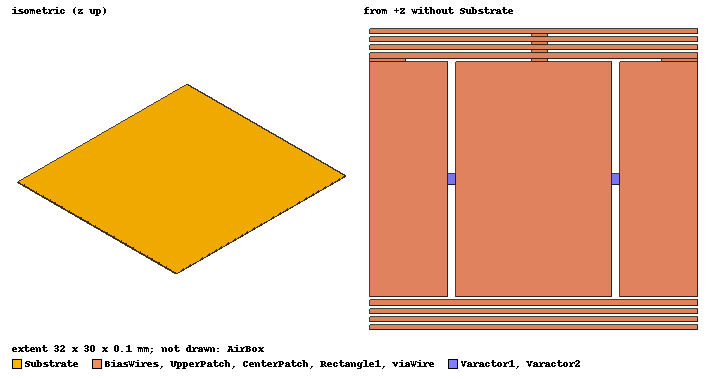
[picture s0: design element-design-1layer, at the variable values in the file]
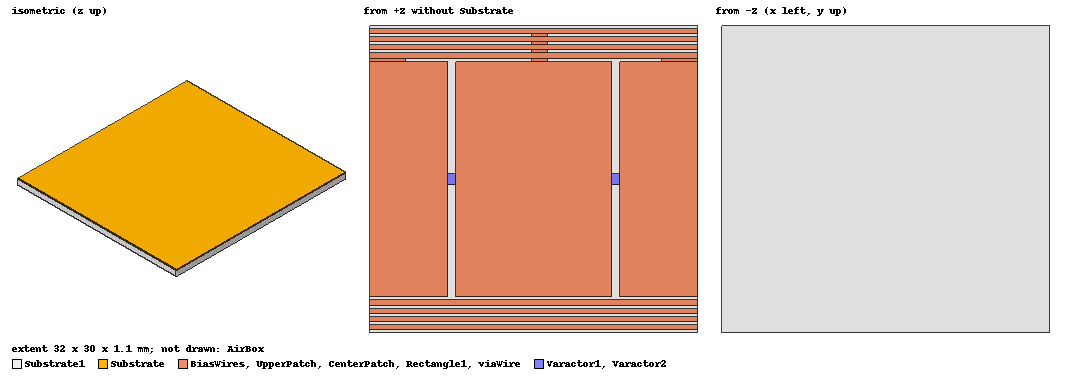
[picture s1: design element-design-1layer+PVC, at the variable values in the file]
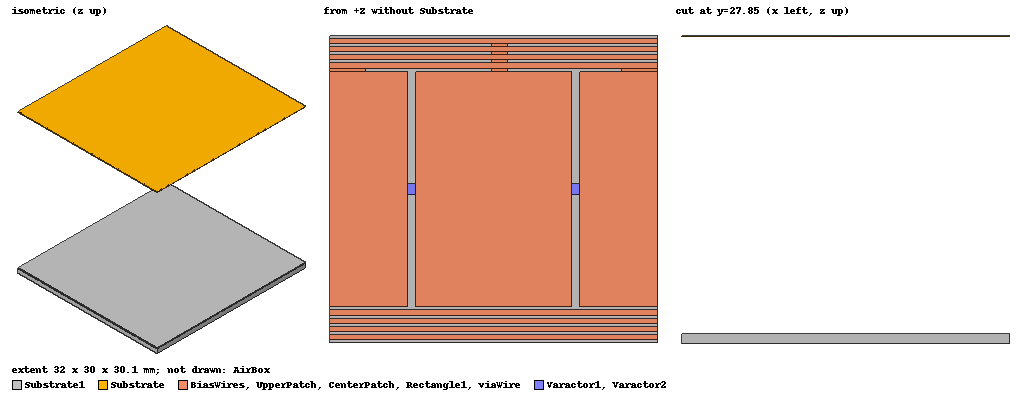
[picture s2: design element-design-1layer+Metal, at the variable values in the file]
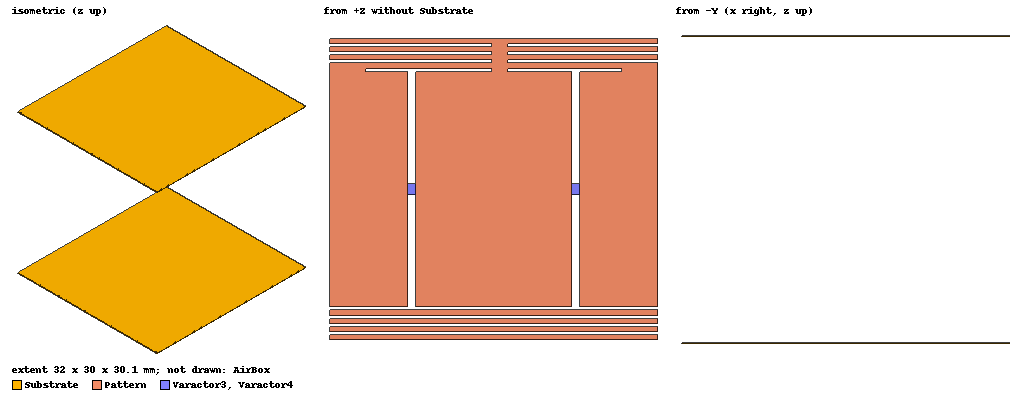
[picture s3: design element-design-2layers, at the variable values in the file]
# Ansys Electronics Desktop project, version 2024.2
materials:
  air: permittivity=1.0006 permeability=1.0000004
  copper: permeability=0.999991 conductivity=58000000
  fabric_my: permittivity=1.5 dielectric_loss_tangent=0.003 delta_H_freq=2450000000
  fat: permittivity=5.462 conductivity=0.051
  muscle: permittivity=55.03 conductivity=0.943
  polyimide: permittivity=3.5 dielectric_loss_tangent=0.008
  skin: permittivity=43.75 conductivity=0.856
  vacuum: permittivity=1
  PVC plastic: permittivity=2.7 dielectric_loss_tangent=0.007
  aluminum: permeability=1.000021 conductivity=38000000

design element-design-1layer (HFSS, HFSS Modal Network, model units mm)
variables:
  air_thickness = 122mm  # Thickness of the airbox for simulation, one wavelength
  sub_XSize = 2*(PatchSizeX+PatchGapX)  # Length of the substrate along X axis, for one surface element
  sub_YSize = 30mm  # Width of the substrate along Yaxis, for one surface element
  sub_PosX = 0  # Start position of substrate along X axis, provides offset, should be fixed to 0
  sub_PosY = 0  # Start position of substrate along Y axis, provides offset, should be fixed to 0
  copper_thickness = 0.02mm  # Thickness of the copper layer in the PCB, fixed by fabrication process
  sub_PosZ = copper_thickness  # Start position of substrate along Z axis, provides offset, should be fixed
  sub_thickness = 0.025mm  # One forth of the thickness of the PCB substrate
  PatchSizeX = 15.3mm  # Length of the center patch of the surface pattern, each element has two patches connected by varactor
  PatchSizeY = 23mm  # Width of the center patch of the surface element
  PatchGapX = 0.7mm  # The gap between two patches, used to host varactor, fixed as we do not plan to change varactor
  wireYSize = 0.5mm  # Biasing wire width along Y axis, biasing wire is to supply voltage for varactor
  wireGapY = 0.3mm  # Biasing wire gap between wires along Y axis
  GNDconnetXSize = 3.5mm  # Width of the connection between GND and patch
  viaRadius = 0.2mm  # Radius of the via, via is used to router the wire and supply voltage to varactor
  viaPosX = sub_XSize/2  # Position of the visa along X axis, fixed by equation
  viaPosY = sub_PosY + sub_YSize/2 + PatchSizeY/2 +(wireYSize+wireGapY)*4 -wireYSize/2  # Position of the visa along Y axis, fixed by equation
  viaPosZ = sub_PosZ  # Position of the visa along Z axis, fixed by equation
  viaGapY = -4*(wireGapY+wireYSize)  # The gap between two sets of vias to route under the biasing wires
  varactorSizeY = 1mm  # size of the varactor, fixed
  capacitance = 2pF  # capacitance of the varactor, with a tunable range between 0.65 to 2pF
  resistance = 0.8ohm  # resistance of the varactor
  viaWireWidth = 1.6mm  # width of the wire connecting two sets of vias, fixed
  viaGapX = viaWireWidth-2*viaRadius  # Gap between vias along X axis.
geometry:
  AirBox [air] = box(corner=(0mm, 0mm, -air_thickness/2), size=(sub_XSize, sub_YSize, air_thickness))
  Substrate [polyimide] = box(corner=(sub_PosX, sub_PosY, sub_PosZ-sub_thickness*1.5), size=(sub_XSize, sub_YSize, sub_thickness*4))
  CenterPatch [copper] = rectangle(corner=(sub_PosX + sub_XSize/2 - PatchSizeX/2, sub_PosY+sub_YSize/2-PatchSizeY/2, sub_PosZ+sub_thickness), x_size=PatchSizeX, y_size=PatchSizeY)
  CenterPatch.thicken(copper_thickness)
  UpperPatch [copper] = rectangle(corner=(sub_PosX, sub_PosY +sub_YSize/2 - PatchSizeY/2, sub_PosZ +sub_thickness), x_size=PatchSizeX/2, y_size=PatchSizeY)
  UpperPatch.thicken(copper_thickness)
  UpperPatch.duplicate_along_line(step=(PatchSizeX *1.5 + PatchGapX*2, 0mm, 0mm), total=2, attached)
  BiasWires [copper] = rectangle(corner=(sub_PosX, sub_PosY +sub_YSize/2 - PatchSizeY/2 - (wireYSize+wireGapY)*4, sub_PosZ+sub_thickness), x_size=sub_XSize, y_size=wireYSize)
  BiasWires.thicken(copper_thickness)
  BiasWires.duplicate_along_line(step=(0mm, wireYSize +wireGapY, 0mm), total=4, attached)
  BiasWires.duplicate_along_line(step=(0mm, PatchSizeY +(wireYSize+wireGapY)*4 + wireGapY, 0mm), total=2, attached)
  Rectangle1 [copper] = rectangle(corner=(sub_PosX, sub_PosY + sub_YSize/2 +PatchSizeY/2, sub_PosZ+sub_thickness), x_size=GNDconnetXSize, y_size=wireGapY)
  Rectangle1.thicken(copper_thickness)
  Rectangle1.duplicate_along_line(step=(sub_XSize-GNDconnetXSize, 0mm, 0mm), total=2, attached)
  Vias [copper] = cylinder(axis=Z, base_centre=(viaPosX, viaPosY, viaPosZ), radius=viaRadius, height=sub_thickness)
  Vias.duplicate_along_line(step=(0mm, viaGapY, 0mm), total=2, attached)
  viaWire [copper] = rectangle(corner=(viaPosX - viaRadius, viaPosY, sub_PosZ-copper_thickness), x_size=viaWireWidth, y_size=viaGapY)
  viaWire.thicken(-copper_thickness)
  Varactor1 = rectangle(corner=(sub_PosX +PatchSizeX/2, sub_PosY+ sub_YSize/2 -varactorSizeY/2, sub_PosZ+sub_thickness+ copper_thickness), x_size=PatchGapX, y_size=varactorSizeY)
  Varactor2 = rectangle(corner=(sub_PosX +PatchSizeX * 1.5 +PatchGapX, sub_PosY+ sub_YSize/2 -varactorSizeY/2, sub_PosZ+sub_thickness+ copper_thickness), x_size=PatchGapX, y_size=varactorSizeY)
  Vias1 [copper] = cylinder(axis=Z, base_centre=(viaPosX + viaGapX/2, viaPosY, viaPosZ), radius=viaRadius, height=sub_thickness)
  Vias1.duplicate_along_line(step=(0mm, viaGapY, 0mm), total=2, attached)
  Vias2 [copper] = cylinder(axis=Z, base_centre=(viaPosX + viaGapX, viaPosY, viaPosZ), radius=viaRadius, height=sub_thickness)
  Vias2.duplicate_along_line(step=(0mm, viaGapY, 0mm), total=2, attached)
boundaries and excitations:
  LumpVaractor: Lumped RLC Objects=Varactor1 CurrentLine{(8.35, 15, 0.065) -> (7.65, 15, 0.065)} RLC_Type=Serial Resistance=resistance Capacitance=capacitance
  LatticePair1: Lattice Pair Faces=AirBox.face(+y, -y) CoordSysVector{(32, 30, 61) -> (32, 30, -61)} PhaseDelay=UseScanAngle Phi=0deg Theta=0deg
  LatticePair2: Lattice Pair Faces=AirBox.face(+x, -x) CoordSysVector{(32, 0, 61) -> (32, 0, -61)} PhaseDelay=UseScanAngle Phi=0deg Theta=0deg
  LumpVaractor2: Lumped RLC Objects=Varactor2 CurrentLine{(24.35, 15, 0.065) -> (23.65, 15, 0.065)} RLC_Type=Serial Resistance=resistance Capacitance=capacitance
  FloquetPort1: Floquet Port Faces=AirBox.face(+z) NumModes=2 DeembedDist="air_thickness/2 - sub_thickness*4" Modes{Mode1{CharImp=Zpi} Mode2{CharImp=Zpi}} PhaseDelay=UseScanAngle Phi=0deg Theta=0deg LatticeAVector{(0, 0, 61) -> (0, 30, 61)} LatticeBVector{(0, 0, 61) -> (32, 0, 61)} ModesList{Mode{ModeNumber=1 IndexM=0 IndexN=0 KC2=0 PropagationState=Propagating Attenuation=0 PolarizationState=TM AffectsRefinement} Mode{ModeNumber=2 IndexM=0 IndexN=0 KC2=0 PropagationState=Propagating Attenuation=0 PolarizationState=TE AffectsRefinement}}
  FloquetPort2: Floquet Port Faces=AirBox.face(-z) NumModes=2 DeembedDist=air_thickness/2 Modes{Mode1{CharImp=Zpi} Mode2{CharImp=Zpi}} PhaseDelay=UseScanAngle Phi=0deg Theta=0deg LatticeAVector{(0, 0, -61) -> (0, 30, -61)} LatticeBVector{(0, 0, -61) -> (32, 0, -61)} ModesList{Mode{ModeNumber=1 IndexM=0 IndexN=0 KC2=0 PropagationState=Propagating Attenuation=0 PolarizationState=TM AffectsRefinement} Mode{ModeNumber=2 IndexM=0 IndexN=0 KC2=0 PropagationState=Propagating Attenuation=0 PolarizationState=TE AffectsRefinement}}
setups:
  Setup1: HfssDriven MultipleAdaptiveFreqsSetup{Low=1.5GHz High=3.5GHz} MaxDeltaS=0.02 MaximumPasses=15 MinimumPasses=1 MinimumConvergedPasses=1 PercentRefinement=30 BasisOrder=1 PortAccuracy=2 DrivenSolverType="Direct Solver"
    sweep Sweep: 1.5GHz to 3.5GHz, 201 points; Type=Interpolating InterpTolerance=0.5 InterpMaxSolns=250 InterpUsePortImped=false PassivityErrorTolerance=0.0001
    sweep Sweep1: 2GHz to 3GHz, 21 points; disabled Type=Discrete
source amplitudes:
  FloquetPort1:1: 1W 0deg
  FloquetPort1:2, FloquetPort2:1, FloquetPort2:2: 0W 0deg
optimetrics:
  Cap: Parametric Sim._Setups=[Setup1]
    sweep capacitance: 0.65pF 0.8pF 1pF 1.25pF 1.5pF
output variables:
  Y_from_Z = 1/Z(FloquetPort2:1,FloquetPort1:1)
  A_fromS = ( (1+S(FloquetPort1:1,FloquetPort1:1)) * (1-S(FloquetPort2:1,FloquetPort2:1)) + S(FloquetPort1:1,FloquetPort2:1) * S(FloquetPort2:1,FloquetPort1:1) ) / (2 * S(FloquetPort2:1,FloquetPort1:1))
  C_fromS = ( (1-S(FloquetPort1:1,FloquetPort1:1)) * (1-S(FloquetPort2:1,FloquetPort2:1)) - S(FloquetPort1:1,FloquetPort2:1) * S(FloquetPort2:1,FloquetPort1:1) ) / (2 * S(FloquetPort2:1,FloquetPort1:1) * 377)
  corrected_Y = (Y_from_Z - 1j/377*sin(air_beta *air_thickness) ) / (cos(air_beta*air_thickness/2)^2)
  air_beta = 2*pi*Freq/3e8
  air_Z = 377ohm
  sub_Z = 377ohm / sqrt(3.55)
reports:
  |S21| for Perpendicular Polarization: dB(S(FloquetPort2:2,FloquetPort1:2)) vs Freq on Setup1 : Sweep; markers MX1 at x=2.5036765e+09
  |S21| for Parallel Polarization: dB(S(FloquetPort2:1,FloquetPort1:1)) vs Freq on Setup1 : Sweep [capacitance=all]; markers MX1 at x=2.4996581e+09
  |S11| for parallel polarization: dB(S(FloquetPort1:1,FloquetPort1:1)) vs Freq on Setup1 : Sweep; markers MX1 at x=2.5044843e+09
  |S11| for perpendicular: dB(S(FloquetPort1:2,FloquetPort1:2)) vs Freq on Setup1 : Sweep
  Phase of S21 for Parallel Polarization: cang_deg(S(FloquetPort2:1,FloquetPort1:1)) vs Freq on Setup1 : Sweep [capacitance=all]; markers MX1 at x=9.9983633e+09
  Phase of S21 for Perpendicular Polarization: cang_deg(S(FloquetPort2:2,FloquetPort1:2)) vs Freq on Setup1 : Sweep
  Phase of |S11|: cang_deg(S(FloquetPort1:1,FloquetPort1:1)) vs Freq on Setup1 : Sweep [capacitance=all]; markers MX1 at x=2.4413448e+09

design element-design-1layer+PVC (HFSS, HFSS Modal Network, model units mm)
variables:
  air_thickness = 122mm  # Thickness of the airbox for simulation, one wavelength
  sub_XSize = 2*(PatchSizeX+PatchGapX)  # Length of the substrate along X axis, for one surface element
  sub_YSize = 30mm  # Width of the substrate along Yaxis, for one surface element
  sub_PosX = 0  # Start position of substrate along X axis, provides offset, should be fixed to 0
  sub_PosY = 0  # Start position of substrate along Y axis, provides offset, should be fixed to 0
  copper_thickness = 0.02mm  # Thickness of the copper layer in the PCB, fixed by fabrication process
  sub_PosZ = copper_thickness  # Start position of substrate along Z axis, provides offset, should be fixed
  sub_thickness = 0.025mm  # One forth of the thickness of the PCB substrate
  PatchSizeX = 15.3mm  # Length of the center patch of the surface pattern, each element has two patches connected by varactor
  PatchSizeY = 23mm  # Width of the center patch of the surface element
  PatchGapX = 0.7mm  # The gap between two patches, used to host varactor, fixed as we do not plan to change varactor
  wireYSize = 0.5mm  # Biasing wire width along Y axis, biasing wire is to supply voltage for varactor
  wireGapY = 0.3mm  # Biasing wire gap between wires along Y axis
  GNDconnetXSize = 3.5mm  # Width of the connection between GND and patch
  viaRadius = 0.2mm  # Radius of the via, via is used to router the wire and supply voltage to varactor
  viaPosX = sub_XSize/2  # Position of the visa along X axis, fixed by equation
  viaPosY = sub_PosY + sub_YSize/2 + PatchSizeY/2 +(wireYSize+wireGapY)*4 -wireYSize/2  # Position of the visa along Y axis, fixed by equation
  viaPosZ = sub_PosZ  # Position of the visa along Z axis, fixed by equation
  viaGapY = -4*(wireGapY+wireYSize)  # The gap between two sets of vias to route under the biasing wires
  varactorSizeY = 1mm  # size of the varactor, fixed
  capacitance = 2pF  # capacitance of the varactor, with a tunable range between 0.65 to 2pF
  resistance = 0.8ohm  # resistance of the varactor
  viaWireWidth = 1.6mm  # width of the wire connecting two sets of vias, fixed
  viaGapX = viaWireWidth-2*viaRadius  # Gap between vias along X axis.
  pvc_thickness = 1mm
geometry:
  AirBox [air] = box(corner=(0mm, 0mm, -air_thickness/2), size=(sub_XSize, sub_YSize, air_thickness))
  Substrate [polyimide] = box(corner=(sub_PosX, sub_PosY, sub_PosZ-sub_thickness*1.5), size=(sub_XSize, sub_YSize, sub_thickness*4))
  CenterPatch [copper] = rectangle(corner=(sub_PosX + sub_XSize/2 - PatchSizeX/2, sub_PosY+sub_YSize/2-PatchSizeY/2, sub_PosZ+sub_thickness), x_size=PatchSizeX, y_size=PatchSizeY)
  CenterPatch.thicken(copper_thickness)
  UpperPatch [copper] = rectangle(corner=(sub_PosX, sub_PosY +sub_YSize/2 - PatchSizeY/2, sub_PosZ +sub_thickness), x_size=PatchSizeX/2, y_size=PatchSizeY)
  UpperPatch.thicken(copper_thickness)
  UpperPatch.duplicate_along_line(step=(PatchSizeX *1.5 + PatchGapX*2, 0mm, 0mm), total=2, attached)
  BiasWires [copper] = rectangle(corner=(sub_PosX, sub_PosY +sub_YSize/2 - PatchSizeY/2 - (wireYSize+wireGapY)*4, sub_PosZ+sub_thickness), x_size=sub_XSize, y_size=wireYSize)
  BiasWires.thicken(copper_thickness)
  BiasWires.duplicate_along_line(step=(0mm, wireYSize +wireGapY, 0mm), total=4, attached)
  BiasWires.duplicate_along_line(step=(0mm, PatchSizeY +(wireYSize+wireGapY)*4 + wireGapY, 0mm), total=2, attached)
  Rectangle1 [copper] = rectangle(corner=(sub_PosX, sub_PosY + sub_YSize/2 +PatchSizeY/2, sub_PosZ+sub_thickness), x_size=GNDconnetXSize, y_size=wireGapY)
  Rectangle1.thicken(copper_thickness)
  Rectangle1.duplicate_along_line(step=(sub_XSize-GNDconnetXSize, 0mm, 0mm), total=2, attached)
  Vias [copper] = cylinder(axis=Z, base_centre=(viaPosX, viaPosY, viaPosZ), radius=viaRadius, height=sub_thickness)
  Vias.duplicate_along_line(step=(0mm, viaGapY, 0mm), total=2, attached)
  viaWire [copper] = rectangle(corner=(viaPosX - viaRadius, viaPosY, sub_PosZ-copper_thickness), x_size=viaWireWidth, y_size=viaGapY)
  viaWire.thicken(-copper_thickness)
  Varactor1 = rectangle(corner=(sub_PosX +PatchSizeX/2, sub_PosY+ sub_YSize/2 -varactorSizeY/2, sub_PosZ+sub_thickness+ copper_thickness), x_size=PatchGapX, y_size=varactorSizeY)
  Varactor2 = rectangle(corner=(sub_PosX +PatchSizeX * 1.5 +PatchGapX, sub_PosY+ sub_YSize/2 -varactorSizeY/2, sub_PosZ+sub_thickness+ copper_thickness), x_size=PatchGapX, y_size=varactorSizeY)
  Vias1 [copper] = cylinder(axis=Z, base_centre=(viaPosX + viaGapX/2, viaPosY, viaPosZ), radius=viaRadius, height=sub_thickness)
  Vias1.duplicate_along_line(step=(0mm, viaGapY, 0mm), total=2, attached)
  Vias2 [copper] = cylinder(axis=Z, base_centre=(viaPosX + viaGapX, viaPosY, viaPosZ), radius=viaRadius, height=sub_thickness)
  Vias2.duplicate_along_line(step=(0mm, viaGapY, 0mm), total=2, attached)
  Substrate1 [PVC plastic] = box(corner=(sub_PosX, sub_PosY, sub_PosZ-1.5*sub_thickness-pvc_thickness), size=(sub_XSize, sub_YSize, pvc_thickness))
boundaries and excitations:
  LumpVaractor: Lumped RLC Objects=Varactor1 CurrentLine{(8.35, 15, 0.065) -> (7.65, 15, 0.065)} RLC_Type=Serial Resistance=resistance Capacitance=capacitance
  LatticePair1: Lattice Pair Faces=AirBox.face(+y, -y) CoordSysVector{(32, 30, 61) -> (32, 30, -61)} PhaseDelay=UseScanAngle Phi=0deg Theta=0deg
  LatticePair2: Lattice Pair Faces=AirBox.face(+x, -x) CoordSysVector{(32, 0, 61) -> (32, 0, -61)} PhaseDelay=UseScanAngle Phi=0deg Theta=0deg
  LumpVaractor2: Lumped RLC Objects=Varactor2 CurrentLine{(24.35, 15, 0.065) -> (23.65, 15, 0.065)} RLC_Type=Serial Resistance=resistance Capacitance=capacitance
  FloquetPort1: Floquet Port Faces=AirBox.face(+z) NumModes=2 DeembedDist="air_thickness/2 - sub_thickness*4" Modes{Mode1{CharImp=Zpi} Mode2{CharImp=Zpi}} PhaseDelay=UseScanAngle Phi=0deg Theta=0deg LatticeAVector{(0, 0, 61) -> (0, 30, 61)} LatticeBVector{(0, 0, 61) -> (32, 0, 61)} ModesList{Mode{ModeNumber=1 IndexM=0 IndexN=0 KC2=0 PropagationState=Propagating Attenuation=0 PolarizationState=TM AffectsRefinement} Mode{ModeNumber=2 IndexM=0 IndexN=0 KC2=0 PropagationState=Propagating Attenuation=0 PolarizationState=TE AffectsRefinement}}
  FloquetPort2: Floquet Port Faces=AirBox.face(-z) NumModes=2 DeembedDist=air_thickness/2 Modes{Mode1{CharImp=Zpi} Mode2{CharImp=Zpi}} PhaseDelay=UseScanAngle Phi=0deg Theta=0deg LatticeAVector{(0, 0, -61) -> (0, 30, -61)} LatticeBVector{(0, 0, -61) -> (32, 0, -61)} ModesList{Mode{ModeNumber=1 IndexM=0 IndexN=0 KC2=0 PropagationState=Propagating Attenuation=0 PolarizationState=TM AffectsRefinement} Mode{ModeNumber=2 IndexM=0 IndexN=0 KC2=0 PropagationState=Propagating Attenuation=0 PolarizationState=TE AffectsRefinement}}
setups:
  Setup1: HfssDriven MultipleAdaptiveFreqsSetup{Low=1.5GHz High=3.5GHz} MaxDeltaS=0.02 MaximumPasses=15 MinimumPasses=1 MinimumConvergedPasses=1 PercentRefinement=30 BasisOrder=1 PortAccuracy=2 DrivenSolverType="Direct Solver"
    sweep Sweep: 1.5GHz to 3.5GHz, 201 points; Type=Interpolating InterpTolerance=0.5 InterpMaxSolns=250 InterpUsePortImped=false PassivityErrorTolerance=0.0001
    sweep Sweep1: 2GHz to 3GHz, 21 points; disabled Type=Discrete
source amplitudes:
  FloquetPort1:1: 1W 0deg
  FloquetPort1:2, FloquetPort2:1, FloquetPort2:2: 0W 0deg
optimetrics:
  Cap: Parametric Sim._Setups=[Setup1]
    sweep capacitance: 0.65pF 0.8pF 1pF 1.25pF 1.5pF
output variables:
  Y_from_Z = 1/Z(FloquetPort2:1,FloquetPort1:1)
  A_fromS = ( (1+S(FloquetPort1:1,FloquetPort1:1)) * (1-S(FloquetPort2:1,FloquetPort2:1)) + S(FloquetPort1:1,FloquetPort2:1) * S(FloquetPort2:1,FloquetPort1:1) ) / (2 * S(FloquetPort2:1,FloquetPort1:1))
  C_fromS = ( (1-S(FloquetPort1:1,FloquetPort1:1)) * (1-S(FloquetPort2:1,FloquetPort2:1)) - S(FloquetPort1:1,FloquetPort2:1) * S(FloquetPort2:1,FloquetPort1:1) ) / (2 * S(FloquetPort2:1,FloquetPort1:1) * 377)
  corrected_Y = (Y_from_Z - 1j/377*sin(air_beta *air_thickness) ) / (cos(air_beta*air_thickness/2)^2)
  air_beta = 2*pi*Freq/3e8
  air_Z = 377ohm
  sub_Z = 377ohm / sqrt(3.55)
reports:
  |S21| for Perpendicular Polarization: dB(S(FloquetPort2:2,FloquetPort1:2)) vs Freq on Setup1 : Sweep; markers MX1 at x=2.5036765e+09
  |S21| for Parallel Polarization: dB(S(FloquetPort2:1,FloquetPort1:1)) vs Freq on Setup1 : Sweep [capacitance=all]; markers MX1 at x=2.4996581e+09, MX2 at x=2.0593162e+09
  |S11| for parallel polarization: dB(S(FloquetPort1:1,FloquetPort1:1)) vs Freq on Setup1 : Sweep; markers MX1 at x=2.5044843e+09
  |S11| for perpendicular: dB(S(FloquetPort1:2,FloquetPort1:2)) vs Freq on Setup1 : Sweep
  Phase of S21 for Parallel Polarization: cang_deg(S(FloquetPort2:1,FloquetPort1:1)) vs Freq on Setup1 : Sweep [capacitance=all]; markers MX1 at x=9.9983633e+09
  Phase of S21 for Perpendicular Polarization: cang_deg(S(FloquetPort2:2,FloquetPort1:2)) vs Freq on Setup1 : Sweep
  Phase of |S11|: cang_deg(S(FloquetPort1:1,FloquetPort1:1)) vs Freq on Setup1 : Sweep [capacitance=all]; markers MX1 at x=2.4413448e+09

design element-design-1layer+Metal (HFSS, HFSS Modal Network, model units mm)
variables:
  air_thickness = 122mm  # Thickness of the airbox for simulation, one wavelength
  sub_XSize = 2*(PatchSizeX+PatchGapX)  # Length of the substrate along X axis, for one surface element
  sub_YSize = 30mm  # Width of the substrate along Yaxis, for one surface element
  sub_PosX = 0  # Start position of substrate along X axis, provides offset, should be fixed to 0
  sub_PosY = 0  # Start position of substrate along Y axis, provides offset, should be fixed to 0
  copper_thickness = 0.02mm  # Thickness of the copper layer in the PCB, fixed by fabrication process
  sub_PosZ = copper_thickness  # Start position of substrate along Z axis, provides offset, should be fixed
  sub_thickness = 0.025mm  # One forth of the thickness of the PCB substrate
  PatchSizeX = 15.3mm  # Length of the center patch of the surface pattern, each element has two patches connected by varactor
  PatchSizeY = 23mm  # Width of the center patch of the surface element
  PatchGapX = 0.7mm  # The gap between two patches, used to host varactor, fixed as we do not plan to change varactor
  wireYSize = 0.5mm  # Biasing wire width along Y axis, biasing wire is to supply voltage for varactor
  wireGapY = 0.3mm  # Biasing wire gap between wires along Y axis
  GNDconnetXSize = 3.5mm  # Width of the connection between GND and patch
  viaRadius = 0.2mm  # Radius of the via, via is used to router the wire and supply voltage to varactor
  viaPosX = sub_XSize/2  # Position of the visa along X axis, fixed by equation
  viaPosY = sub_PosY + sub_YSize/2 + PatchSizeY/2 +(wireYSize+wireGapY)*4 -wireYSize/2  # Position of the visa along Y axis, fixed by equation
  viaPosZ = sub_PosZ  # Position of the visa along Z axis, fixed by equation
  viaGapY = -4*(wireGapY+wireYSize)  # The gap between two sets of vias to route under the biasing wires
  varactorSizeY = 1mm  # size of the varactor, fixed
  capacitance = 2pF  # capacitance of the varactor, with a tunable range between 0.65 to 2pF
  resistance = 0.8ohm  # resistance of the varactor
  viaWireWidth = 1.6mm  # width of the wire connecting two sets of vias, fixed
  viaGapX = viaWireWidth-2*viaRadius  # Gap between vias along X axis.
  pvc_thickness = 1mm
  ground_plane_thickness = 1mm
  metal_air_gap = 30mm
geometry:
  AirBox [air] = box(corner=(0mm, 0mm, -air_thickness/2), size=(sub_XSize, sub_YSize, air_thickness))
  Substrate [polyimide] = box(corner=(sub_PosX, sub_PosY, sub_PosZ-sub_thickness*1.5), size=(sub_XSize, sub_YSize, sub_thickness*4))
  CenterPatch [copper] = rectangle(corner=(sub_PosX + sub_XSize/2 - PatchSizeX/2, sub_PosY+sub_YSize/2-PatchSizeY/2, sub_PosZ+sub_thickness), x_size=PatchSizeX, y_size=PatchSizeY)
  CenterPatch.thicken(copper_thickness)
  UpperPatch [copper] = rectangle(corner=(sub_PosX, sub_PosY +sub_YSize/2 - PatchSizeY/2, sub_PosZ +sub_thickness), x_size=PatchSizeX/2, y_size=PatchSizeY)
  UpperPatch.thicken(copper_thickness)
  UpperPatch.duplicate_along_line(step=(PatchSizeX *1.5 + PatchGapX*2, 0mm, 0mm), total=2, attached)
  BiasWires [copper] = rectangle(corner=(sub_PosX, sub_PosY +sub_YSize/2 - PatchSizeY/2 - (wireYSize+wireGapY)*4, sub_PosZ+sub_thickness), x_size=sub_XSize, y_size=wireYSize)
  BiasWires.thicken(copper_thickness)
  BiasWires.duplicate_along_line(step=(0mm, wireYSize +wireGapY, 0mm), total=4, attached)
  BiasWires.duplicate_along_line(step=(0mm, PatchSizeY +(wireYSize+wireGapY)*4 + wireGapY, 0mm), total=2, attached)
  Rectangle1 [copper] = rectangle(corner=(sub_PosX, sub_PosY + sub_YSize/2 +PatchSizeY/2, sub_PosZ+sub_thickness), x_size=GNDconnetXSize, y_size=wireGapY)
  Rectangle1.thicken(copper_thickness)
  Rectangle1.duplicate_along_line(step=(sub_XSize-GNDconnetXSize, 0mm, 0mm), total=2, attached)
  Vias [copper] = cylinder(axis=Z, base_centre=(viaPosX, viaPosY, viaPosZ), radius=viaRadius, height=sub_thickness)
  Vias.duplicate_along_line(step=(0mm, viaGapY, 0mm), total=2, attached)
  viaWire [copper] = rectangle(corner=(viaPosX - viaRadius, viaPosY, sub_PosZ-copper_thickness), x_size=viaWireWidth, y_size=viaGapY)
  viaWire.thicken(-copper_thickness)
  Varactor1 = rectangle(corner=(sub_PosX +PatchSizeX/2, sub_PosY+ sub_YSize/2 -varactorSizeY/2, sub_PosZ+sub_thickness+ copper_thickness), x_size=PatchGapX, y_size=varactorSizeY)
  Varactor2 = rectangle(corner=(sub_PosX +PatchSizeX * 1.5 +PatchGapX, sub_PosY+ sub_YSize/2 -varactorSizeY/2, sub_PosZ+sub_thickness+ copper_thickness), x_size=PatchGapX, y_size=varactorSizeY)
  Vias1 [copper] = cylinder(axis=Z, base_centre=(viaPosX + viaGapX/2, viaPosY, viaPosZ), radius=viaRadius, height=sub_thickness)
  Vias1.duplicate_along_line(step=(0mm, viaGapY, 0mm), total=2, attached)
  Vias2 [copper] = cylinder(axis=Z, base_centre=(viaPosX + viaGapX, viaPosY, viaPosZ), radius=viaRadius, height=sub_thickness)
  Vias2.duplicate_along_line(step=(0mm, viaGapY, 0mm), total=2, attached)
  Substrate1 [aluminum] = box(corner=(sub_PosX, sub_PosY, sub_PosZ-1.5*sub_thickness-metal_air_gap), size=(sub_XSize, sub_YSize, ground_plane_thickness))
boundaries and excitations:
  LumpVaractor: Lumped RLC Objects=Varactor1 CurrentLine{(8.35, 15, 0.065) -> (7.65, 15, 0.065)} RLC_Type=Serial Resistance=resistance Capacitance=capacitance
  LatticePair1: Lattice Pair Faces=AirBox.face(+y, -y) CoordSysVector{(32, 30, 61) -> (32, 30, -61)} PhaseDelay=UseScanAngle Phi=0deg Theta=0deg
  LatticePair2: Lattice Pair Faces=AirBox.face(+x, -x) CoordSysVector{(32, 0, 61) -> (32, 0, -61)} PhaseDelay=UseScanAngle Phi=0deg Theta=0deg
  LumpVaractor2: Lumped RLC Objects=Varactor2 CurrentLine{(24.35, 15, 0.065) -> (23.65, 15, 0.065)} RLC_Type=Serial Resistance=resistance Capacitance=capacitance
  FloquetPort1: Floquet Port Faces=AirBox.face(+z) NumModes=2 DeembedDist="air_thickness/2 - sub_thickness*4" Modes{Mode1{CharImp=Zpi} Mode2{CharImp=Zpi}} PhaseDelay=UseScanAngle Phi=0deg Theta=0deg LatticeAVector{(0, 0, 61) -> (0, 30, 61)} LatticeBVector{(0, 0, 61) -> (32, 0, 61)} ModesList{Mode{ModeNumber=1 IndexM=0 IndexN=0 KC2=0 PropagationState=Propagating Attenuation=0 PolarizationState=TM AffectsRefinement} Mode{ModeNumber=2 IndexM=0 IndexN=0 KC2=0 PropagationState=Propagating Attenuation=0 PolarizationState=TE AffectsRefinement}}
  FloquetPort2: Floquet Port Faces=AirBox.face(-z) NumModes=2 DeembedDist=air_thickness/2 Modes{Mode1{CharImp=Zpi} Mode2{CharImp=Zpi}} PhaseDelay=UseScanAngle Phi=0deg Theta=0deg LatticeAVector{(0, 0, -61) -> (0, 30, -61)} LatticeBVector{(0, 0, -61) -> (32, 0, -61)} ModesList{Mode{ModeNumber=1 IndexM=0 IndexN=0 KC2=0 PropagationState=Propagating Attenuation=0 PolarizationState=TM AffectsRefinement} Mode{ModeNumber=2 IndexM=0 IndexN=0 KC2=0 PropagationState=Propagating Attenuation=0 PolarizationState=TE AffectsRefinement}}
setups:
  Setup1: HfssDriven Frequency=3GHz MaxDeltaS=0.01 MaximumPasses=15 MinimumPasses=1 MinimumConvergedPasses=1 PercentRefinement=30 BasisOrder=1 PortAccuracy=2 DrivenSolverType="Direct Solver"
    sweep Sweep: 1.5GHz to 3.5GHz, 201 points; Type=Interpolating InterpTolerance=0.5 InterpMaxSolns=250 InterpUsePortImped=false PassivityErrorTolerance=0.0001
    sweep Sweep1: 2GHz to 3GHz, 21 points; disabled Type=Discrete
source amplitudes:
  FloquetPort1:1: 1W 0deg
  FloquetPort1:2, FloquetPort2:1, FloquetPort2:2: 0W 0deg
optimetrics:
  Cap: Parametric Sim._Setups=[Setup1]
    sweep capacitance: 0.65pF 0.8pF 1pF 1.25pF 1.5pF
    sweep metal_air_gap: LIN 15mm 60mm 15mm 3mm 5mm 2mm
  Cap1: Parametric Sim._Setups=[Setup1]
    sweep capacitance: 0.65pF 0.8pF 1pF 1.25pF 1.5pF 2pF 1.1pF
    sweep metal_air_gap: 5mm
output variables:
  Y_from_Z = 1/Z(FloquetPort2:1,FloquetPort1:1)
  A_fromS = ( (1+S(FloquetPort1:1,FloquetPort1:1)) * (1-S(FloquetPort2:1,FloquetPort2:1)) + S(FloquetPort1:1,FloquetPort2:1) * S(FloquetPort2:1,FloquetPort1:1) ) / (2 * S(FloquetPort2:1,FloquetPort1:1))
  C_fromS = ( (1-S(FloquetPort1:1,FloquetPort1:1)) * (1-S(FloquetPort2:1,FloquetPort2:1)) - S(FloquetPort1:1,FloquetPort2:1) * S(FloquetPort2:1,FloquetPort1:1) ) / (2 * S(FloquetPort2:1,FloquetPort1:1) * 377)
  corrected_Y = (Y_from_Z - 1j/377*sin(air_beta *air_thickness) ) / (cos(air_beta*air_thickness/2)^2)
  air_beta = 2*pi*Freq/3e8
  air_Z = 377ohm
  sub_Z = 377ohm / sqrt(3.55)
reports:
  |S21| for Perpendicular Polarization: dB(S(FloquetPort2:2,FloquetPort1:2)) vs Freq on Setup1 : Sweep; markers MX1 at x=2.5036765e+09
  |S21| for Parallel Polarization: dB(S(FloquetPort2:1,FloquetPort1:1)) vs Freq on Setup1 : Sweep [capacitance=all]; markers MX1 at x=2.4996581e+09, MX2 at x=2.0593162e+09
  |S11| for parallel polarization: dB(S(FloquetPort1:1,FloquetPort1:1)) vs Freq on Setup1 : Sweep [capacitance=all metal_air_gap=5mm]; markers MX1 at x=2.4427646e+09
  |S11| for perpendicular: dB(S(FloquetPort1:2,FloquetPort1:2)) vs Freq on Setup1 : Sweep
  Phase of S21 for Parallel Polarization: cang_deg(S(FloquetPort2:1,FloquetPort1:1)) vs Freq on Setup1 : Sweep [capacitance=all]; markers MX1 at x=9.9983633e+09
  Phase of S21 for Perpendicular Polarization: cang_deg(S(FloquetPort2:2,FloquetPort1:2)) vs Freq on Setup1 : Sweep
  Phase of |S11|: cang_deg(S(FloquetPort1:1,FloquetPort1:1)) vs Freq on Setup1 : Sweep [capacitance=all metal_air_gap=5mm]; markers MX1 at x=2.4132682e+09

design element-design-2layers (HFSS, HFSS Modal Network, model units mm)
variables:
  air_thickness = 122mm + surf_layer_gap  # Thickness of the airbox for simulation, one wavelength
  sub_XSize = 2*(PatchSizeX+PatchGapX)  # Length of the substrate along X axis, for one surface element
  sub_YSize = 30mm  # Width of the substrate along Yaxis, for one surface element
  sub_PosX = 0  # Start position of substrate along X axis, provides offset, should be fixed to 0
  sub_PosY = 0  # Start position of substrate along Y axis, provides offset, should be fixed to 0
  copper_thickness = 0.02mm  # Thickness of the copper layer in the PCB, fixed by fabrication process
  sub_PosZ = copper_thickness  # Start position of substrate along Z axis, provides offset, should be fixed
  sub_thickness = 0.025mm  # One forth of the thickness of the PCB substrate
  PatchSizeX = 15.3mm  # Length of the center patch of the surface pattern, each element has two patches connected by varactor
  PatchSizeY = 23mm  # Width of the center patch of the surface element
  PatchGapX = 0.7mm  # The gap between two patches, used to host varactor, fixed as we do not plan to change varactor
  wireYSize = 0.5mm  # Biasing wire width along Y axis, biasing wire is to supply voltage for varactor
  wireGapY = 0.3mm  # Biasing wire gap between wires along Y axis
  GNDconnetXSize = 3.5mm  # Width of the connection between GND and patch
  viaRadius = 0.2mm  # Radius of the via, via is used to router the wire and supply voltage to varactor
  viaPosX = sub_XSize/2  # Position of the visa along X axis, fixed by equation
  viaPosY = sub_PosY + sub_YSize/2 + PatchSizeY/2 +(wireYSize+wireGapY)*4 -wireYSize/2  # Position of the visa along Y axis, fixed by equation
  viaPosZ = sub_PosZ  # Position of the visa along Z axis, fixed by equation
  viaGapY = -4*(wireGapY+wireYSize)  # The gap between two sets of vias to route under the biasing wires
  varactorSizeY = 1mm  # size of the varactor, fixed
  capacitance = 1pF  # capacitance of the varactor, with a tunable range between 0.65 to 2pF
  resistance = 0.8ohm  # resistance of the varactor
  viaWireWidth = 1.6mm  # width of the wire connecting two sets of vias, fixed
  viaGapX = viaWireWidth-2*viaRadius  # Gap between vias along X axis.
  pvc_thickness = 1mm
  surf_layer_gap = 30mm
  capacitance1 = 1pF
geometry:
  AirBox [air] = box(corner=(0mm, 0mm, -61mm), size=(sub_XSize, sub_YSize, air_thickness))
  Substrate [polyimide] = box(corner=(sub_PosX, sub_PosY, sub_PosZ-sub_thickness*1.5), size=(sub_XSize, sub_YSize, sub_thickness*4))
  Pattern [copper] = rectangle(corner=(sub_PosX + sub_XSize/2 - PatchSizeX/2, sub_PosY+sub_YSize/2-PatchSizeY/2, sub_PosZ+sub_thickness), x_size=PatchSizeX, y_size=PatchSizeY)
  Pattern.thicken(copper_thickness)
  UpperPatch = rectangle(corner=(sub_PosX, sub_PosY +sub_YSize/2 - PatchSizeY/2, sub_PosZ +sub_thickness), x_size=PatchSizeX/2, y_size=PatchSizeY)
  UpperPatch.thicken(copper_thickness)
  UpperPatch.duplicate_along_line(step=(PatchSizeX *1.5 + PatchGapX*2, 0mm, 0mm), total=2, attached)
  BiasWires = rectangle(corner=(sub_PosX, sub_PosY +sub_YSize/2 - PatchSizeY/2 - (wireYSize+wireGapY)*4, sub_PosZ+sub_thickness), x_size=sub_XSize, y_size=wireYSize)
  BiasWires.thicken(copper_thickness)
  BiasWires.duplicate_along_line(step=(0mm, wireYSize +wireGapY, 0mm), total=4, attached)
  BiasWires.duplicate_along_line(step=(0mm, PatchSizeY +(wireYSize+wireGapY)*4 + wireGapY, 0mm), total=2, attached)
  GND_connect = rectangle(corner=(sub_PosX, sub_PosY + sub_YSize/2 +PatchSizeY/2, sub_PosZ+sub_thickness), x_size=GNDconnetXSize, y_size=wireGapY)
  GND_connect.thicken(copper_thickness)
  GND_connect.duplicate_along_line(step=(sub_XSize-GNDconnetXSize, 0mm, 0mm), total=2, attached)
  Vias = cylinder(axis=Z, base_centre=(viaPosX, viaPosY, viaPosZ), radius=viaRadius, height=sub_thickness)
  Vias.duplicate_along_line(step=(0mm, viaGapY, 0mm), total=2, attached)
  viaWire = rectangle(corner=(viaPosX - viaRadius, viaPosY, sub_PosZ-copper_thickness), x_size=viaWireWidth, y_size=viaGapY)
  viaWire.thicken(-copper_thickness)
  Varactor1 = rectangle(corner=(sub_PosX +PatchSizeX/2, sub_PosY+ sub_YSize/2 -varactorSizeY/2, sub_PosZ+sub_thickness+ copper_thickness), x_size=PatchGapX, y_size=varactorSizeY)
  Varactor2 = rectangle(corner=(sub_PosX +PatchSizeX * 1.5 +PatchGapX, sub_PosY+ sub_YSize/2 -varactorSizeY/2, sub_PosZ+sub_thickness+ copper_thickness), x_size=PatchGapX, y_size=varactorSizeY)
  Vias1 = cylinder(axis=Z, base_centre=(viaPosX + viaGapX/2, viaPosY, viaPosZ), radius=viaRadius, height=sub_thickness)
  Vias1.duplicate_along_line(step=(0mm, viaGapY, 0mm), total=2, attached)
  Vias2 = cylinder(axis=Z, base_centre=(viaPosX + viaGapX, viaPosY, viaPosZ), radius=viaRadius, height=sub_thickness)
  Vias2.duplicate_along_line(step=(0mm, viaGapY, 0mm), total=2, attached)
  viaWire.unite(Vias, Vias1, Vias2)
  Pattern.unite(GND_connect, UpperPatch, viaWire, BiasWires)
  Pattern.duplicate_along_line(step=(0mm, 0mm, surf_layer_gap), total=2, attached)
  Substrate.duplicate_along_line(step=(0mm, 0mm, surf_layer_gap), total=2, attached)
  Varactor3 = rectangle(corner=(sub_PosX +PatchSizeX/2, sub_PosY+ sub_YSize/2 -varactorSizeY/2, sub_PosZ+sub_thickness+ copper_thickness), x_size=PatchGapX, y_size=varactorSizeY)
  Varactor4 = rectangle(corner=(sub_PosX +PatchSizeX * 1.5 +PatchGapX, sub_PosY+ sub_YSize/2 -varactorSizeY/2, sub_PosZ+sub_thickness+ copper_thickness), x_size=PatchGapX, y_size=varactorSizeY)
  [Varactor3, Varactor4].move(0mm, 0mm, surf_layer_gap)
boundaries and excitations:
  LumpVaractor: Lumped RLC Objects=Varactor1 CurrentLine{(8.35, 15, 0.065) -> (7.65, 15, 0.065)} RLC_Type=Serial Resistance=resistance Capacitance=capacitance
  LatticePair1: Lattice Pair Faces=AirBox.face(+y, -y) CoordSysVector{(32, 30, 91) -> (32, 30, -61)} PhaseDelay=UseScanAngle Phi=0deg Theta=0deg
  LatticePair2: Lattice Pair Faces=AirBox.face(+x, -x) CoordSysVector{(32, 0, 91) -> (32, 0, -61)} PhaseDelay=UseScanAngle Phi=0deg Theta=0deg
  LumpVaractor2: Lumped RLC Objects=Varactor2 CurrentLine{(24.35, 15, 0.065) -> (23.65, 15, 0.065)} RLC_Type=Serial Resistance=resistance Capacitance=capacitance
  LumpVaractor3: Lumped RLC Objects=Varactor3 CurrentLine{(8.35, 15, 30.065) -> (7.65, 15, 30.065)} RLC_Type=Serial Resistance=resistance Capacitance=capacitance1
  LumpVaractor4: Lumped RLC Objects=Varactor4 CurrentLine{(24.35, 15, 30.065) -> (23.65, 15, 30.065)} RLC_Type=Serial Resistance=resistance Capacitance=capacitance1
  FloquetPort1: Floquet Port Faces=AirBox.face(+z) NumModes=2 DeembedDist="(air_thickness-surf_layer_gap)/2 - sub_thickness*4" Modes{Mode1{CharImp=Zpi} Mode2{CharImp=Zpi}} PhaseDelay=UseScanAngle Phi=0deg Theta=0deg LatticeAVector{(0, 0, 91) -> (0, 30, 91)} LatticeBVector{(0, 0, 91) -> (32, 0, 91)} ModesList{Mode{ModeNumber=1 IndexM=0 IndexN=0 KC2=0 PropagationState=Propagating Attenuation=0 PolarizationState=TM AffectsRefinement} Mode{ModeNumber=2 IndexM=0 IndexN=0 KC2=0 PropagationState=Propagating Attenuation=0 PolarizationState=TE AffectsRefinement}}
  FloquetPort2: Floquet Port Faces=AirBox.face(-z) NumModes=2 DeembedDist=(air_thickness-surf_layer_gap)/2 Modes{Mode1{CharImp=Zpi} Mode2{CharImp=Zpi}} PhaseDelay=UseScanAngle Phi=0deg Theta=0deg LatticeAVector{(0, 0, -61) -> (0, 30, -61)} LatticeBVector{(0, 0, -61) -> (32, 0, -61)} ModesList{Mode{ModeNumber=1 IndexM=0 IndexN=0 KC2=0 PropagationState=Propagating Attenuation=0 PolarizationState=TM AffectsRefinement} Mode{ModeNumber=2 IndexM=0 IndexN=0 KC2=0 PropagationState=Propagating Attenuation=0 PolarizationState=TE AffectsRefinement}}
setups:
  Setup1: HfssDriven Frequency=2GHz MaxDeltaS=0.01 MaximumPasses=15 MinimumPasses=1 MinimumConvergedPasses=1 PercentRefinement=30 BasisOrder=1 PortAccuracy=2 DrivenSolverType="Direct Solver"
    sweep Sweep: 1.5GHz to 3.5GHz, 201 points; Type=Interpolating InterpTolerance=0.5 InterpMaxSolns=250 InterpUsePortImped=false PassivityErrorTolerance=0.0001
    sweep Sweep1: 2GHz to 3GHz, 21 points; disabled Type=Discrete
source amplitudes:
  FloquetPort1:1: 1W 0deg
  FloquetPort1:2, FloquetPort2:1, FloquetPort2:2: 0W 0deg
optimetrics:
  Cap: Parametric Sim._Setups=[Setup1]
    sweep capacitance: 0.65pF 0.8pF 1pF 1.25pF
    sweep capacitance1: 0.65pF 0.8pF 1pF 1.25pF
    sweep surf_layer_gap: 10mm 30mm 60mm
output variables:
  Y_from_Z = 1/Z(FloquetPort2:1,FloquetPort1:1)
  A_fromS = ( (1+S(FloquetPort1:1,FloquetPort1:1)) * (1-S(FloquetPort2:1,FloquetPort2:1)) + S(FloquetPort1:1,FloquetPort2:1) * S(FloquetPort2:1,FloquetPort1:1) ) / (2 * S(FloquetPort2:1,FloquetPort1:1))
  C_fromS = ( (1-S(FloquetPort1:1,FloquetPort1:1)) * (1-S(FloquetPort2:1,FloquetPort2:1)) - S(FloquetPort1:1,FloquetPort2:1) * S(FloquetPort2:1,FloquetPort1:1) ) / (2 * S(FloquetPort2:1,FloquetPort1:1) * 377)
  corrected_Y = (Y_from_Z - 1j/377*sin(air_beta *air_thickness) ) / (cos(air_beta*air_thickness/2)^2)
  air_beta = 2*pi*Freq/3e8
  air_Z = 377ohm
  sub_Z = 377ohm / sqrt(3.55)
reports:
  |S21| for Perpendicular Polarization: dB(S(FloquetPort2:2,FloquetPort1:2)) vs Freq on Setup1 : Sweep; markers MX1 at x=2.5036765e+09
  |S21| for Parallel Polarization: dB(S(FloquetPort2:1,FloquetPort1:1)) vs Freq on Setup1 : Sweep [capacitance=all surf_layer_gap=30mm capacitance1=all]; markers MX1 at x=2.0879745e+09, MX2 at x=2.0022322e+09
  |S11| for parallel polarization: dB(S(FloquetPort1:1,FloquetPort1:1)) vs Freq on Setup1 : Sweep; markers MX1 at x=2.5044843e+09
  |S11| for perpendicular: dB(S(FloquetPort1:2,FloquetPort1:2)) vs Freq on Setup1 : Sweep
  Phase of S21 for Parallel Polarization: cang_deg(S(FloquetPort2:1,FloquetPort1:1)) vs Freq on Setup1 : Sweep [capacitance=all surf_layer_gap=60mm capacitance1=all]; markers MX1 at x=9.9983633e+09, MX2 at x=2.3992068e+09
  Phase of S21 for Perpendicular Polarization: cang_deg(S(FloquetPort2:2,FloquetPort1:2)) vs Freq on Setup1 : Sweep
  Phase of |S11|: cang_deg(S(FloquetPort1:1,FloquetPort1:1)) vs Freq on Setup1 : Sweep [capacitance=all]; markers MX1 at x=2.4413448e+09
